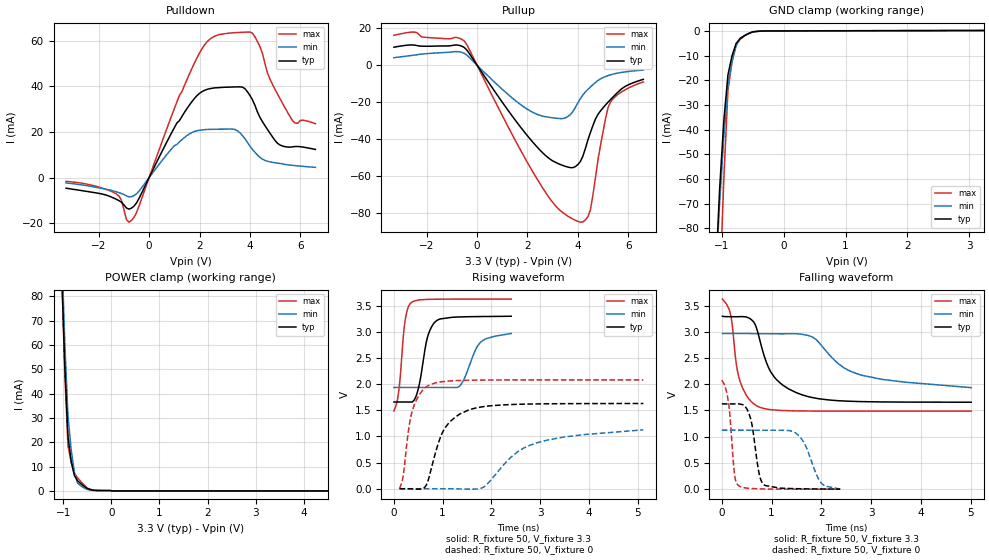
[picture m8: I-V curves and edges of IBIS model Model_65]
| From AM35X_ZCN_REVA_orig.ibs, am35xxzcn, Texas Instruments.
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| Model based on original model for BC1833DV50BTPBFHP18LL_7LM_X50
|   Sub model LL_7LM_X50_PD_ON_3P3
[model]   Model_65
|[Description]  3.3V-I/O-PD-X
|[Input Load]   PD
|[Output Drive]
|Voltage   3.3V
|Mode   I/O
Model_type   I/O
Polarity   Non-Inverting
Enable   Active-Low
Vinl =  0.8V
Vinh =  2V
Cref =  15pF
Rref =  100.0000M
Vref =  0V
Vmeas =  1.65
C_comp   1.683006p   1.492615p   1.787227p
[Model Spec]
Vinl   0.8V   0.8V   0.8V
Vinh   2V   2V   2V
[Temperature Range]   25   125   -40
[Voltage Range]   3.3   2.97   3.63
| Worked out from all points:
|   slope of the pulldown table from 0 to 0.495 V, typ, clamps not added: 44.5 ohm
|   slope of the pullup table from 0 to 0.495 V, typ, clamps not added: 49.1 ohm
|   GND clamp passes 1 mA (typ) near -0.56 V on its own axis
|   POWER clamp passes 1 mA (typ) near -0.50 V on its own axis
|   rising waveform, R_fixture 50, V_fixture 3.3: 20-80 % time 195ps typ, 280ps min, 122ps max; typ from 1.66 V to 3.3 V
|   rising waveform, R_fixture 50, V_fixture 0: 20-80 % time 427ps typ, 984ps min, 234ps max; typ from 0 V to 1.63 V
|   falling waveform, R_fixture 50, V_fixture 3.3: 20-80 % time 494ps typ, 983ps min, 224ps max; typ from 3.3 V to 1.66 V
|   falling waveform, R_fixture 50, V_fixture 0: 20-80 % time 155ps typ, 285ps min, 110ps max; typ from 1.63 V to 0 V
[POWER_clamp]
-3.3V     2.414A     2.856A     2.597A
-1.033V   91.41mA    100.8mA    92.12mA
-966.7mV  51.65mA    61.21mA    48.79mA
-900mV    22.33mA    30.87mA    18.6mA
-833.3mV  12.34mA    16.87mA    11.61mA
-766.7mV  6.286mA    7.643mA    7.215mA
-700mV    4.163mA    3.191mA    5.404mA
-566.7mV  1.931mA    1.219mA    2.461mA
-500mV    997.5uA    621.5uA    1.208mA
-366.7mV  252.8uA    162.2uA    342.1uA
33.33mV   0A         0A         0A
6.6V      0A         0A         0A
[Pulldown]
-3.3V     -4.669mA   -2.345mA   -1.683mA
-1.3V     -9.527mA   -6.237mA   -7.18mA
-900mV    -13.33mA   -8.043mA   -18.4mA
-700mV    -13.38mA   -8.364mA   -18.74mA
1.8V      34.72mA    20.23mA    50.27mA
2.3V      38.67mA    21.09mA    59.54mA
2.8V      39.47mA    21.22mA    62.74mA
3.5V      39.76mA    20.55mA    63.58mA
4.1V      34.11mA    12.32mA    63.3mA
5V        16.21mA    6.486mA    38.59mA
5.7V      13.47mA    5.354mA    24.85mA
6.6V      12.34mA    4.484mA    23.64mA
[Pullup]
-3.3V     9.738mA    4.045mA    16.21mA
-2.5V     10.91mA    5.432mA    17.95mA
-500mV    9.5mA      6.347mA    12.96mA
1.4V      -27.68mA   -17.82mA   -37.78mA
2.4V      -44.64mA   -26.76mA   -62.11mA
3.5V      -54.84mA   -28.6mA    -80.92mA
4.1V      -52.27mA   -18.13mA   -85.16mA
4.5V      -36.47mA   -11.82mA   -78.34mA
5V        -23.1mA    -6.724mA   -36.03mA
5.2V      -20.04mA   -5.652mA   -22.93mA
5.3V      -18.59mA   -5.203mA   -19.89mA
6.6V      -7.68mA    -2.683mA   -9.05mA
[GND_clamp]
-3.3V     -1.975A    -1.766A    -3.378A
-1.1V     -99.4mA    -100.8mA   -162mA
-1.033V   -63.74mA   -69.32mA   -106.1mA
-966.7mV  -36.57mA   -43.05mA   -60.18mA
-900mV    -17.88mA   -22.01mA   -24.32mA
-833.3mV  -10.01mA   -12.38mA   -12.35mA
-766.7mV  -5.054mA   -6.023mA   -5.382mA
-700mV    -3.018mA   -2.938mA   -3.413mA
-566.7mV  -1.062mA   -1.101mA   -1.024mA
-500mV    -403.5uA   -520.7uA   -326.7uA
-300mV    -30.38uA   -31.17uA   -39.69uA
3.233V    152.3uA    93.7uA     242.6uA
[Ramp]
dV/dt_f 0.98320301/0.49347442n 0.61923758/0.96014811n  1.2820937/0.22321178n
dV/dt_r 0.98244474/0.42474888n 0.67992646/0.9752817n  1.2527544/0.23239197n
R_load = 50
[Rising Waveform]
R_fixture = 50
V_fixture = 3.3
V_fixture_min = 2.97
V_fixture_max = 3.63
2.391ps   1.658V     1.936V     1.488V
108.2ps   1.658V     1.936V     1.917V
231.1ps   1.658V     1.936V     3.204V
352.2ps   1.656V     1.936V     3.553V
481.2ps   1.838V     1.936V     3.602V
685ps     2.875V     1.936V     3.618V
837.7ps   3.18V      1.936V     3.621V
1.329ns   3.282V     1.946V     3.624V
1.77ns    3.29V      2.791V     3.624V
2.409ns   3.296V     2.968V     3.625V
[Rising Waveform]
R_fixture = 50
V_fixture = 0
V_fixture_min = 0
V_fixture_max = 0
117.1ps   8.104nV    108.3nV    4.143nV
185.6ps   2.26uV     -319.2nV   211.1mV
299.7ps   -217.4uV   -421.2nV   1.103V
378.4ps   -2.931mV   -58.55nV   1.486V
722.9ps   220.6mV    69.71nV    1.978V
1.024ns   1.119V     8.261uV    2.049V
1.532ns   1.504V     -7.378mV   2.073V
1.85ns    1.57V      37.12mV    2.077V
2.93ns    1.621V     876.2mV    2.079V
5.117ns   1.629V     1.125V     2.079V
[Falling Waveform]
R_fixture = 50
V_fixture = 3.3
V_fixture_min = 2.97
V_fixture_max = 3.63
12.82ps   3.296V     2.968V     3.625V
177.4ps   3.288V     2.968V     3.321V
293.2ps   3.287V     2.968V     2.372V
367.6ps   3.29V      2.968V     2.052V
588.2ps   3.237V     2.967V     1.673V
728.7ps   2.969V     2.964V     1.575V
1.052ns   2.141V     2.962V     1.51V
1.599ns   1.803V     2.955V     1.491V
2.75ns    1.671V     2.19V      1.488V
5.013ns   1.658V     1.936V     1.488V
[Falling Waveform]
R_fixture = 50
V_fixture = 0
V_fixture_min = 0
V_fixture_max = 0
0s        1.629V     1.125V     2.079V
119.6ps   1.625V     1.125V     1.735V
256.3ps   1.625V     1.125V     276.9mV
345.2ps   1.626V     1.125V     60.96mV
575.9ps   1.351V     1.124V     13.9mV
745ps     317.5mV    1.123V     6.761mV
839.2ps   92.27mV    1.123V     4.162mV
1.492ns   9.493mV    1.065V     141.1uV
1.987ns   3.308mV    129.7mV    14.53uV
2.38ns    8.104nV    108.3nV    4.143nV
